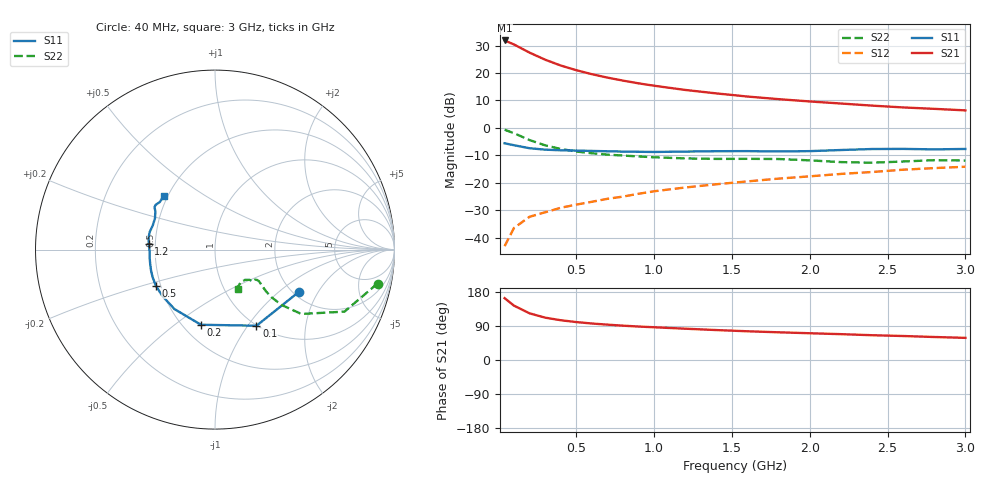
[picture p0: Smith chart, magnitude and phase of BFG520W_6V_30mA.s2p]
! Filename:  BFG520WL.S2P  Version:  4.0
! Philips part #: BFG520  Date: Jun 1994
! Bias condition: Vce=6.0V, Ic=30.0mA
! IN LINE PINNING: same data as with cross emitter pinning.
#  MHz  S  MA  R  50
! Freq  S11  S21  S12  S22  !GUM [dB]
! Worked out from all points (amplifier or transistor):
!   21 points, 40 MHz to 3 GHz, reference 50 ohm
!   highest |S21| = 31.8 dB at 40 MHz (marker M1)
!   |S21| within 3 dB of that: start of sweep to 152 MHz
!   unconditionally stable (mu >= 1): 696.4 MHz to end of sweep
!   at 300 MHz: K = 0.71, MSG = 27.8 dB, |S12| = -30.8 dB
!   at 1 GHz: K = 1.07, MAG = 17.6 dB, |S12| = -23.1 dB
!   at 3 GHz: K = 1.10, MAG = 8.3 dB, |S12| = -14.2 dB
!   S11 on the Smith chart (normalised r, x): 40 MHz: 2.15, -1.39; 100 MHz: 0.99, -1.10; 200 MHz: 0.61, -0.63; 500 MHz: 0.47, -0.22; 1.2 GHz: 0.46, +0.03; 3 GHz: 0.48, +0.34
40  0.524 -26.6  39.13 163.2  0.007 77.4  0.925 -11.8
100  0.483 -61.4  33.09 143.5  0.015 69.2  0.8 -25.6
200  0.426 -100.6  23.51 123.2  0.024 62.1  0.6 -36.7
300  0.401 -124.3  17.48 111.8  0.029 61.9  0.481 -39.8
400  0.391 -138.7  13.69 105.0  0.035 64.0  0.413 -40.1
500  0.386 -148.7  11.25 100.1  0.04 65.9  0.371 -39.4
600  0.38 -156.2  9.516 96.3  0.045 67.8  0.345 -38.3
700  0.375 -161.8  8.245 93.3  0.051 69.6  0.326 -37.3
800  0.37 -167.3  7.265 90.6  0.056 71.3  0.313 -36.4
900  0.367 -172.4  6.476 88.3  0.063 72.4  0.302 -35.8
1000  0.364 -177.1  5.859 86.4  0.07 73.2  0.291 -35.7
1200  0.37 175.0  4.909 82.6  0.082 74.2  0.278 -36.9
1400  0.376 169.6  4.245 79.0  0.094 75.0  0.272 -39.2
1600  0.377 164.9  3.722 75.8  0.106 76.4  0.273 -40.4
1800  0.372 158.8  3.337 73.1  0.119 75.8  0.271 -40.5
2000  0.377 152.5  3.028 70.6  0.131 76.0  0.256 -41.1
2200  0.395 147.3  2.779 68.2  0.145 75.5  0.238 -45.0
2400  0.412 144.9  2.544 65.4  0.157 76.3  0.232 -52.2
2600  0.414 142.9  2.357 63.3  0.173 76.2  0.244 -58.2
2800  0.406 139.3  2.222 60.7  0.185 75.1  0.258 -60.0
3000  0.413 133.9  2.083 58.4  0.196 75.1  0.254 -60.4
